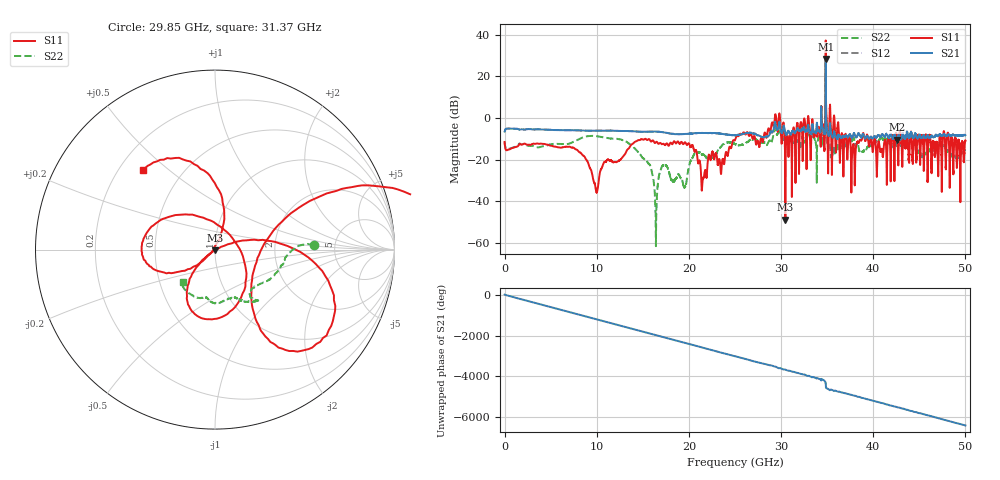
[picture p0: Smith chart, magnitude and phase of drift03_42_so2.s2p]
!Created with skrf (http://scikit-rf.org).
# Hz S RI R 50.0
!freq ReS11 ImS11 ReS21 ImS21 ReS12 ImS12 ReS22 ImS22
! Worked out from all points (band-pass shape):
!   10001 points, 300 kHz to 50 GHz, reference 50 ohm
!   highest |S21| = 28.39 dB at 34.85 GHz (marker M1); lowest = -10.4 dB at 42.55 GHz (marker M2)
!   |S21| within 3 dB of the highest: 34.84385 GHz to 34.84602 GHz (2.169 MHz wide, 0.00622 % of centre)
!   lowest |S11| = -48.8 dB at 30.47 GHz (marker M3), VSWR 1.01, Z = 49.9 - j0.357 ohm
!   |S11| at or under -10 dB: start of sweep to 15.23 GHz; 15.32 GHz to 25.05 GHz (9.733 GHz wide, 48.2 % of centre); 40.22 GHz to 41.62 GHz (1.394 GHz wide, 3.41 % of centre) (the widest 3 of 48)
!   |S22| runs from -61.6 to 19.3 dB; largest |S21 - S12| = 3.6
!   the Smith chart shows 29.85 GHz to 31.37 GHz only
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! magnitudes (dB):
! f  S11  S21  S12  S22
! 300 kHz  -11.5  -6.5  -6.5  -11.4
! 8.335 GHz  -17.1  -6.0  -6.0  -9.6
! 9.955 GHz  -35.7  -6.1  -6.1  -8.7
! 11 GHz  -20.9  -6.0  -6.0  -9.5
! 13.96 GHz  -12.2  -6.3  -6.3  -13.9
! 16.36 GHz  -11.9  -6.5  -6.5  -42.5
! 16.67 GHz  -12.4  -6.6  -6.5  -29.8
! 17.33 GHz  -12.7  -6.9  -6.9  -22.9
! 19.55 GHz  -11.7  -7.7  -7.7  -33.0
! 20.22 GHz  -13.9  -7.5  -7.5  -20.3
! 21.55 GHz  -28.6  -7.2  -7.2  -17.7
! 25 GHz  -10.6  -8.2  -8.2  -12.5
! 29.6 GHz  -5.5  -5.7  -5.9  -7.8
! 30.47 GHz  -48.8  -7.2  -7.2  -9.1
! 33.34 GHz  -3.8  -6.8  -6.7  -9.4
! 34.85 GHz  37.3  28.4  28.2  19.3
! 35.63 GHz  -6.5  -9.3  -9.2  -16.2
! 37.82 GHz  -12.7  -8.3  -8.3  -9.9
! 38.81 GHz  -9.0  -8.2  -8.2  -16.1
! 41.67 GHz  -9.3  -9.4  -9.4  -11.4
! 42.55 GHz  -8.5  -10.4  -10.4  -13.1
! 50 GHz  -10.7  -8.2  -8.2  -15.4
